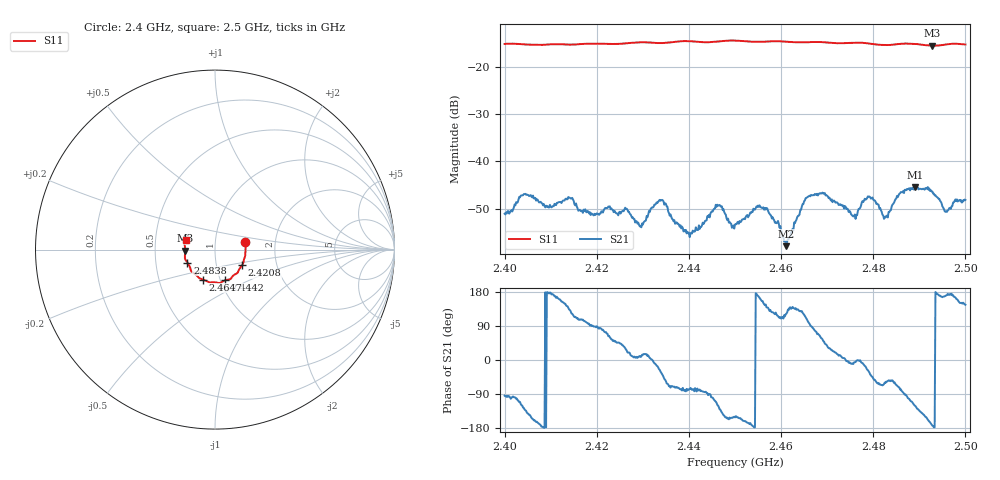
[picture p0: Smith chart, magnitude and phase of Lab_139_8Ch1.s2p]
# Hz S RI R
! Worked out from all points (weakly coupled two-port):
!   601 points, 2.4 GHz to 2.5 GHz, reference 50 ohm
!   highest |S21| = -45.37 dB at 2.4892 GHz (marker M1); lowest = -57.9 dB at 2.4612 GHz (marker M2)
!   lowest |S11| = -15.6 dB at 2.4928 GHz (marker M3), VSWR 1.40, Z = 35.8 - j0.372 ohm
!   |S11| at or under -10 dB: start of sweep to end of sweep
!   S12 and S22 are empty: the file has one direction only
!   S11 on the Smith chart (normalised r, x): 2.4 GHz: 1.40, +0.12; 2.4208 GHz: 1.33, -0.24; 2.4442 GHz: 1.05, -0.37; 2.4647 GHz: 0.83, -0.29; 2.4838 GHz: 0.73, -0.11; 2.5 GHz: 0.72, +0.08
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2.4e9  0.168 0.0409  -0.000207 -0.00281  0 0  0 0
2.4045e9  0.1704 0.0135  -0.00307 -0.00336  0 0  0 0
2.416667e9  0.1588 -0.068  -0.000887 0.00285  0 0  0 0
2.420833e9  0.1508 -0.0872  0.000319 0.00281  0 0  0 0
2.429667e9  0.1255 -0.1294  0.00199 0.000328  0 0  0 0
2.433333e9  0.1079 -0.1402  0.00354 -0.00125  0 0  0 0
2.44e9  0.0818 -0.1661  0.000368 -0.00173  0 0  0 0
2.444167e9  0.0567 -0.1712  -0.00012 -0.0026  0 0  0 0
2.446667e9  0.0391 -0.1801  -0.00224 -0.00266  0 0  0 0
2.45e9  0.0246 -0.1865  -0.0019 -0.00104  0 0  0 0
2.4555e9  -0.0108 -0.182  -0.00314 0.00106  0 0  0 0
2.461167e9  -0.0415 -0.1778  -0.000684 0.00108  0 0  0 0
2.464667e9  -0.0673 -0.1669  -0.00202 0.00291  0 0  0 0
2.466667e9  -0.0802 -0.1627  0.000162 0.0044  0 0  0 0
2.475833e9  -0.1269 -0.1247  0.00264 -0.000298  0 0  0 0
2.479333e9  -0.1367 -0.108  0.00331 -0.00257  0 0  0 0
2.483333e9  -0.1505 -0.0761  0.00173 -0.00237  0 0  0 0
2.483833e9  -0.1532 -0.0719  0.00181 -0.00248  0 0  0 0
2.489167e9  -0.1677 -0.0422  -0.00283 -0.00459  0 0  0 0
2.492833e9  -0.1658 -0.00506  -0.00478 -0.000568  0 0  0 0
2.495833e9  -0.1692 0.0243  -0.00293 0.000472  0 0  0 0
2.5e9  -0.1624 0.0529  -0.00325 0.00221  0 0  0 0
